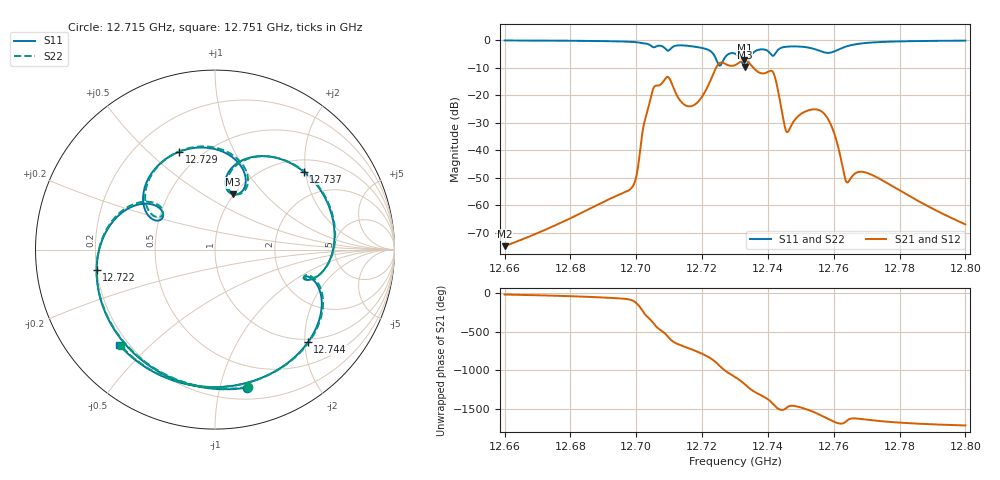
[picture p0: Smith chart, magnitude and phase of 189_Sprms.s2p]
! TOUCHSTONE file generated by CST MICROWAVE STUDIO
! Date and time: Wed Jul 31 20:28:06 2024
! Project name: WaveGuide_BPF-Ver4.1_U-shape_Ku_T3_C4_CWA_2.cst
! Parameters = {cavity_h=16; cavity_l0=10; cavity_l1=15.1666; cavity_l2=16.8206; cavity_l3=17.0687; cavity_l4=17.3071; cavity_l5=17.1378; cavity_l6=17.6243; cavity_r=2.5; cavity_screw_l=0.5; cavity_screw_r=1.5; cavity_w=8; iris_h00=0; iris_h01=8.8323; iris_h112=0; iris_h12=5.6095; iris_h211=3.6542; 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
! Header version: 2018
! Port assignment regex: !\s*Touchstone port\s*([0-9]+)\s*=\s*(CST MWS port|CST DS port)\s*([0-9]+|Zmin|Zmax)\s*\(\"(.*)\"\)(\s*mode\s*([0-9]+))?.*
! Touchstone port assignment:
! Touchstone port 1 = CST MWS port 1 ("")
! Touchstone port 2 = CST MWS port 2 ("")
# GHz S RI R 50
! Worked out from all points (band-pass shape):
!   5001 points, 12.66 GHz to 12.8 GHz, reference 50 ohm
!   highest |S21| = -7.28 dB at 12.733 GHz (marker M1); lowest = -74.8 dB at 12.66 GHz (marker M2)
!   |S21| within 3 dB of the highest: 12.72416 GHz to 12.73575 GHz (11.59 MHz wide, 0.0911 % of centre)
!   lowest |S11| = -9.8 dB at 12.733 GHz (marker M3), VSWR 1.96, Z = 49.2 + j34 ohm
!   |S11| at or under -10 dB: nowhere
!   |S22| runs from -9.7 to -0.1 dB; largest |S21 - S12| = 1e-09
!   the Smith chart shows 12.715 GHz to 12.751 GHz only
!   S11 on the Smith chart (normalised r, x): 12.715 GHz: 0.30, -1.21; 12.722 GHz: 0.20, -0.08; 12.729 GHz: 0.38, +0.63; 12.737 GHz: 1.27, +1.95; 12.744 GHz: 0.93, -2.07; 12.751 GHz: 0.16, -0.40
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12.66  0.2657 0.9469  0.000171 -5.99e-05  0.000171 -5.99e-05  0.2647 0.9473
12.68335  0.635 0.73  0.00051 -0.000522  0.00051 -0.000522  0.6315 0.7334
12.69892  0.9037 0.1969  -0.000283 -0.00218  -0.000283 -0.00218  0.9021 0.2066
12.70668  0.7593 -0.2156  -0.018 -0.1481  -0.018 -0.1481  0.761 -0.207
12.71538  0.1757 -0.7693  0.0615 0.0163  0.0615 0.0163  0.1821 -0.7653
12.72174  -0.6597 -0.1145  -0.0327 -0.1408  -0.0327 -0.1408  -0.6596 -0.1028
12.72488  -0.2974 0.2179  -0.332 0.1411  -0.332 0.1411  -0.298 0.2313
12.72905  -0.1978 0.5457  0.323 0.1083  0.323 0.1083  -0.1751 0.5567
12.73  -0.0329 0.566  0.3489 -0.0375  0.3489 -0.0375  -0.0111 0.5701
12.73288  0.111 0.3068  -0.0605 -0.428  -0.0605 -0.428  0.1204 0.3075
12.73302  0.0978 0.3088  -0.0997 -0.4201  -0.0997 -0.4201  0.1072 0.3099
12.73683  0.4934 0.4348  -0.2075 0.17  -0.2075 0.17  0.5008 0.4327
12.74154  0.4934 -0.1557  0.2605 0.0256  0.2605 0.0256  0.4969 -0.1499
12.74428  0.5172 -0.5169  0.015 -0.0473  0.015 -0.0473  0.5286 -0.5073
12.75072  -0.5337 -0.5308  0.0307 -0.0372  0.0307 -0.0372  -0.5246 -0.5358
12.75335  -0.7068 -0.0388  7.34e-06 -0.0549  7.34e-06 -0.0549  -0.7023 -0.0386
12.75736  -0.0257 0.592  -0.0434 -0.00835  -0.0434 -0.00835  -0.0098 0.591
12.76122  0.6523 -0.1228  -0.00564 0.0109  -0.00564 0.0109  0.6557 -0.1308
12.76385  0.4272 -0.636  -0.00211 0.00163  -0.00211 0.00163  0.4299 -0.6376
12.76654  0.0568 -0.8344  -0.00381 0.000173  -0.00381 0.000173  0.0625 -0.835
12.77668  -0.7329 -0.5784  -0.00168 0.00177  -0.00168 0.00177  -0.7288 -0.583
12.8  -0.9683 0.1201  2.62e-05 0.00045  2.62e-05 0.00045  -0.9683 0.1193
